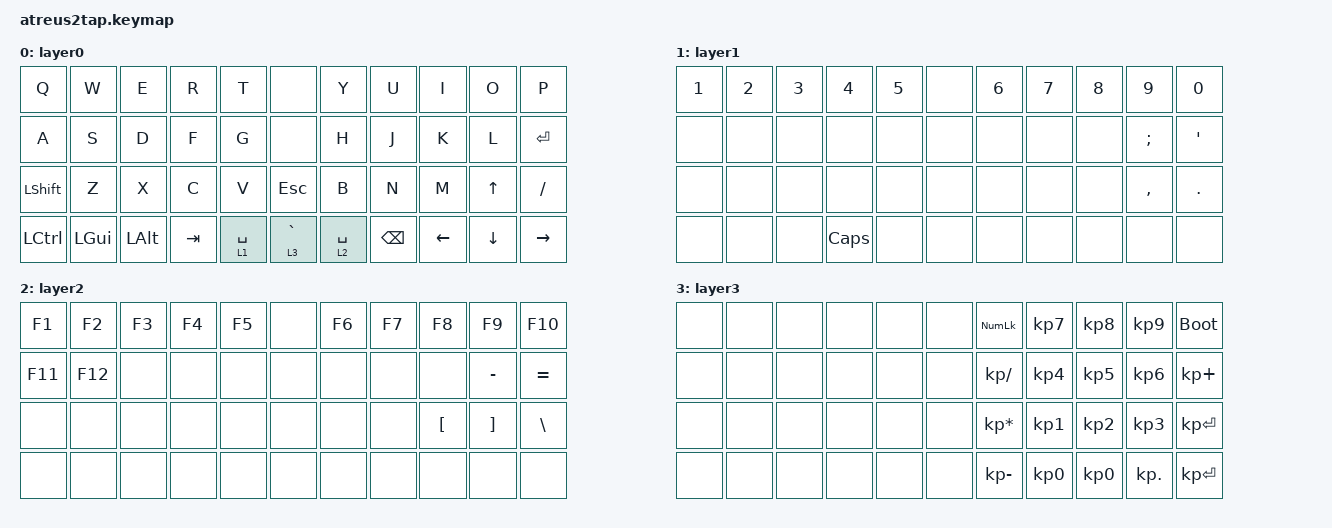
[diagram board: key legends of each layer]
// This file was generated from a template. Edit it to match your keyboard.
// See https://zmk.dev/docs/development/hardware-integration/new-shield for more instructions.

#include <behaviors.dtsi>
#include <dt-bindings/zmk/keys.h>
#include <dt-bindings/zmk/behaviors.h>

/ {
    // Define a default keymap here.
    // See https://zmk.dev/docs/development/hardware-integration/new-shield#default-keymap.
    keymap {
        compatible = "zmk,keymap";

        layer0 {
            bindings = <
                &kp Q    &kp W    &kp E    &kp R    &kp T    &none &kp Y    &kp U    &kp I    &kp O    &kp P
                &kp A    &kp S    &kp D    &kp F    &kp G    &none &kp H    &kp J    &kp K    &kp L    &kp RET
                &kp LSHFT &kp Z   &kp X    &kp C    &kp V    &kp ESC  &kp B    &kp N    &kp M    &kp UP   &kp FSLH
                &kp LCTRL &kp LGUI &kp LALT &kp TAB  &lt 1 SPACE    &lt 3 GRAVE    &lt 2 SPACE    &kp BSPC &kp LEFT &kp DOWN &kp RIGHT
            >;
        };

        // ========== Layer 1: 数字/符号 ==========
        layer1 {
            bindings = <
                &kp N1 &kp N2 &kp N3 &kp N4 &kp N5 &none &kp N6 &kp N7 &kp N8 &kp N9 &kp N0
                &none &none &none &none &none &none &none &none &none &kp SEMI &kp SQT
                &none &none &none &none &none &none &none &none &none &kp COMMA &kp DOT
                &none &none &none &kp CAPS &none &none &none &none &none &none &none
            >;
        };

        // ========== Layer 2: F键/符号 ==========
        layer2 {
            bindings = <
                &kp F1 &kp F2 &kp F3 &kp F4 &kp F5 &none &kp F6 &kp F7 &kp F8 &kp F9 &kp F10
                &kp F11 &kp F12 &none &none &none &none &none &none &none &kp MINUS &kp EQUAL
                &none &none &none &none &none &none &none &none &kp LBKT &kp RBKT &kp BSLH
                &none &none &none &none &none &none &none &none &none &none &none
            >;
        };

        // ========== Layer 3: 小键盘 ==========
        layer3 {
            bindings = <
                &none &none &none &none &none &none &kp KP_NUM &kp KP_N7 &kp KP_N8 &kp KP_N9 &bootloader
                &none &none &none &none &none &none &kp KP_DIVIDE &kp KP_N4 &kp KP_N5 &kp KP_N6 &kp KP_PLUS
                &none &none &none &none &none &none &kp KP_MULTIPLY &kp KP_N1 &kp KP_N2 &kp KP_N3 &kp KP_ENTER
                &none &none &none &none &none &none &kp KP_MINUS &kp KP_N0 &kp KP_N0 &kp KP_DOT &kp KP_ENTER
            >;
        };
    };
    behaviors {
        lt: layer_tap {
            tapping-term-ms = <128>;
        };
    };
};
